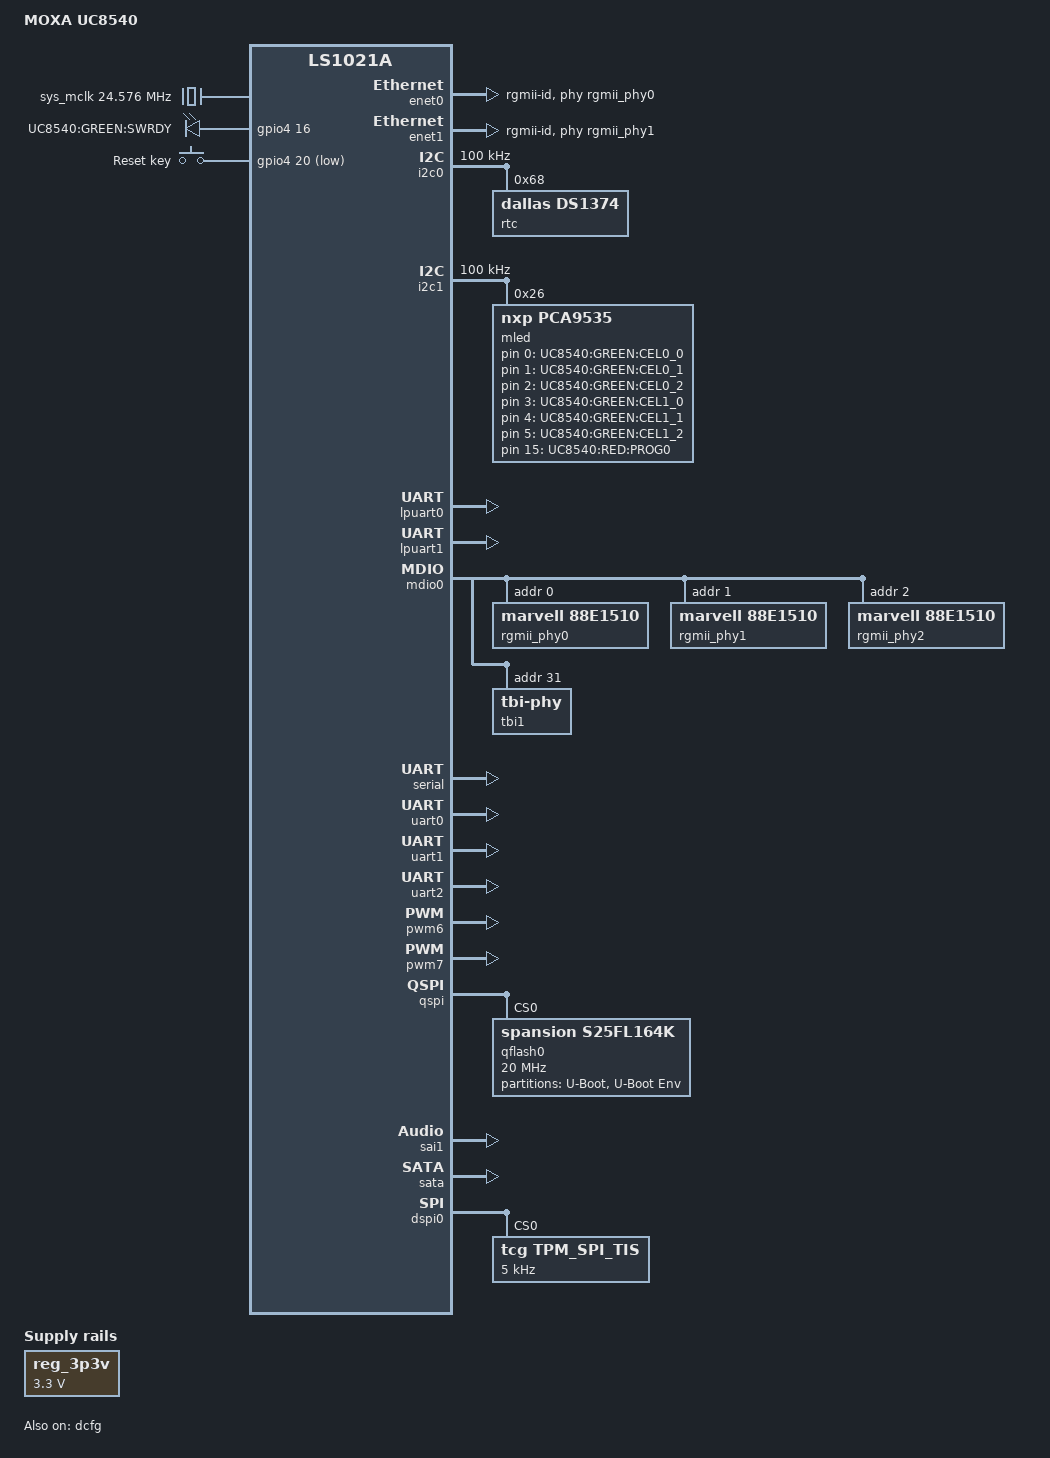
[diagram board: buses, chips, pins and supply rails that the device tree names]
/*
 * Copyright 2013-2014 Freescale Semiconductor, Inc.
 *
 * This file is dual-licensed: you can use it either under the terms
 * of the GPL or the X11 license, at your option. Note that this dual
 * licensing only applies to this file, and not this project as a
 * whole.
 *
 *  a) This file is free software; you can redistribute it and/or
 *     modify it under the terms of the GNU General Public License as
 *     published by the Free Software Foundation; either version 2 of
 *     the License, or (at your option) any later version.
 *
 *     This file is distributed in the hope that it will be useful,
 *     but WITHOUT ANY WARRANTY; without even the implied warranty of
 *     MERCHANTABILITY or FITNESS FOR A PARTICULAR PURPOSE.  See the
 *     GNU General Public License for more details.
 *
 *     You should have received a copy of the GNU General Public
 *     License along with this file; if not, write to the Free
 *     Software Foundation, Inc., 51 Franklin St, Fifth Floor, Boston,
 *     MA 02110-1301 USA
 *
 * Or, alternatively,
 *
 *  b) Permission is hereby granted, free of charge, to any person
 *     obtaining a copy of this software and associated documentation
 *     files (the "Software"), to deal in the Software without
 *     restriction, including without limitation the rights to use,
 *     copy, modify, merge, publish, distribute, sublicense, and/or
 *     sell copies of the Software, and to permit persons to whom the
 *     Software is furnished to do so, subject to the following
 *     conditions:
 *
 *     The above copyright notice and this permission notice shall be
 *     included in all copies or substantial portions of the Software.
 *
 *     THE SOFTWARE IS PROVIDED "AS IS", WITHOUT WARRANTY OF ANY KIND,
 *     EXPRESS OR IMPLIED, INCLUDING BUT NOT LIMITED TO THE WARRANTIES
 *     OF MERCHANTABILITY, FITNESS FOR A PARTICULAR PURPOSE AND
 *     NONINFRINGEMENT. IN NO EVENT SHALL THE AUTHORS OR COPYRIGHT
 *     HOLDERS BE LIABLE FOR ANY CLAIM, DAMAGES OR OTHER LIABILITY,
 *     WHETHER IN AN ACTION OF CONTRACT, TORT OR OTHERWISE, ARISING
 *     FROM, OUT OF OR IN CONNECTION WITH THE SOFTWARE OR THE USE OR
 *     OTHER DEALINGS IN THE SOFTWARE.
 */

/dts-v1/;
#include "ls1021a.dtsi"

/ {
	model = "MOXA UC8540";

	aliases {
		enet0_rgmii_phy = &rgmii_phy0;
		enet1_rgmii_phy = &rgmii_phy1;
		enet2_rgmii_phy = &rgmii_phy2;
	};

	clocks {
		sys_mclk: clock {
			compatible = "fixed-clock";
			#clock-cells = <0>;
			clock-frequency = <24576000>;
		};
	};

	regulators {
		compatible = "simple-bus";
		#address-cells = <1>;
		#size-cells = <0>;

		reg_3p3v: regulator@0 {
			compatible = "regulator-fixed";
			reg = <0>;
			regulator-name = "3P3V";
			regulator-min-microvolt = <3300000>;
			regulator-max-microvolt = <3300000>;
			regulator-always-on;
		};
	};
	
	leds {
		compatible = "gpio-leds";

		signal_led_0_0 {
			label = "UC8540:GREEN:CEL0_0";
			gpios = <&mled 0 0>;
			default-state = "off";
		};

		signal_led_0_1 {
			label = "UC8540:GREEN:CEL0_1";
			gpios = <&mled 1 0>;
			default-state = "off";
		};

		signal_led_0_2 {
			label = "UC8540:GREEN:CEL0_2";
			gpios = <&mled 2 0>;
			default-state = "off";
		};

		signal_led_1_0 {
			label = "UC8540:GREEN:CEL1_0";
			gpios = <&mled 3 0>;
			default-state = "off";
		};

		signal_led_1_1 {
			label = "UC8540:GREEN:CEL1_1";
			gpios = <&mled 4 0>;
			default-state = "off";
		};

		signal_led_1_2 {
			label = "UC8540:GREEN:CEL1_2";
			gpios = <&mled 5 0>;
			default-state = "off";
		};

		prog_led0 {
			label = "UC8540:RED:PROG0";
			gpios = <&mled 15 0>;
			default-state = "off";
		};

		sw_ready {
			label = "UC8540:GREEN:SWRDY";
			gpios = <&gpio4 16 0>;
			default-state = "on";
		};
	};

    gpio-keys {
        compatible = "gpio-keys";
        reset-key {
            label = "Reset key";
            gpios = <&gpio4 20 1>;
            linux,code = <69>;
            default-state = "on";
        };
    };
};

&enet0 {
	phy-handle = <&rgmii_phy0>;
	phy-mode = "rgmii-id";
	status = "okay";
};

&enet1 {
	phy-handle = <&rgmii_phy1>;
	phy-mode = "rgmii-id";
	status = "okay";
};

&enet2 {
	phy-handle = <&rgmii_phy2>;
	phy-mode = "rgmii-id";
	status = "disabled";
};

&i2c0 {
	status = "okay";
	clock-frequency = <100000>;

	rtc@68 {
		compatible = "dallas,ds1374";
		reg = <0x68>;
	};
};

&i2c1 {
	status = "okay";
	clock-frequency = <100000>;

	mled: gpio@26 {
		compatible = "nxp,pca9535";
		reg = <0x26>;
		gpio-controller;
		#gpio-cells = <2>;
		interrupts = <23 IRQ_TYPE_LEVEL_LOW>;
	};
};

&i2c2 {
	status = "disabled";
	monitor: ltc2945@67 {
		reg = <0x67>;
	};
};

&ifc {
	status = "disabled";
	#address-cells = <2>;
	#size-cells = <1>;
	/* NOR Flash on board */
	ranges = <0x0 0x0 0x0 0x60000000 0x08000000>;

	nor@0,0 {
		#address-cells = <1>;
		#size-cells = <1>;
		compatible = "cfi-flash";
		reg = <0x0 0x0 0x8000000>;
		bank-width = <2>;
		device-width = <1>;
	};
};

&lpuart0 {
	status = "okay";
};

&lpuart1 {
	status = "okay";
};

&mdio0 {
	rgmii_phy0: ethernet-phy@0 {
		compatible = "marvell,88e1510";	
		reg = <0x0>;
		marvell,reg-init =
			/* marvell,reg-init = <reg-page reg mask value> */
			<3 0x11 0 0x15>, /* Reg 3,17 */
			<3 0x10 0 0x177>; /* Reg 3,16 */
	};
	rgmii_phy1: ethernet-phy@1 {
		compatible = "marvell,88e1510";
		reg = <0x1>;
		marvell,reg-init =
			/* marvell,reg-init = <reg-page reg mask value> */
			<3 0x11 0 0x15>, /* Reg 3,17 */
			<3 0x10 0 0x177>; /* Reg 3,16 */
	};
	rgmii_phy2: ethernet-phy@2 {
		compatible = "marvell,88e1510";
		reg = <0x2>;
		marvell,reg-init =
			/* marvell,reg-init = <reg-page reg mask value> */
			<3 0x11 0 0x4415>, /* Reg 3,17 */
			<3 0x10 0 0x77>; /* Reg 3,16 / LED[0]:orange LED[1]:green, 4bit per LED */
	};
	tbi1: tbi-phy@1f {
		reg = <0x1f>;
		device_type = "tbi-phy";
	};
};

&uqe {
	tdma: ucc@2000 {
		compatible = "fsl,ucc-tdm";
		rx-clock-name = "clk8";
		tx-clock-name = "clk9";
		fsl,rx-sync-clock = "rsync_pin";
		fsl,tx-sync-clock = "tsync_pin";
		fsl,tx-timeslot = <0xfffffffe>;
		fsl,rx-timeslot = <0xfffffffe>;
		fsl,tdm-framer-type = "e1";
		fsl,tdm-mode = "normal";
		fsl,tdm-id = <0>;
		fsl,siram-entry-id = <0>;
	};

	serial: ucc@2200 {
		device_type = "serial";
		compatible = "ucc_uart";
		port-number = <1>;
		rx-clock-name = "brg2";
		tx-clock-name = "brg2";
	};
};

&uart0 {
	status = "okay";
};

&uart1 {
	status = "okay";
};

&uart2 {
	status = "okay";
};

&pwm6 {
	status = "okay";
};

&pwm7 {
	status = "okay";
};

&dcfg {
	status = "okay";
};

&qspi {
	status = "okay";
	bus-num = <0>;
	fsl,spi-num-chipselects = <2>;
	fsl,spi-flash-chipselects = <0>;
	fsl,qspi-has-second-chip;

	qflash0: qspi_flash@0 {
		compatible = "spansion,s25fl164k", "spansion,s25fl064l", "mx25l6405d","jedec,spi-nor";
		spi-max-frequency = <20000000>;
		reg = <0>;

		partitions { /*according to kernel Document, must be "partitions", note the 's'*/
			compatible = "fixed-partitions";
			#address-cells = <1>;
			#size-cells = <1>;

			U-Boot@0 {
				label = "U-Boot";
				reg = <0x0 0x180000>;
			};
			U-Boot_Env@180000 {
				label = "U-Boot Env";
				reg = <0x180000 0x40000>;
			};
		};
	};
};

&uart1 {
	status = "okay";
};

&sai1 {
	status = "okay";
};

&sata {
	status = "okay";
};

&dspi0 {
	compatible = "fsl,vf610-dspi";
	status = "okay";
	bus-num = <0>;

	tpm_spi_tis@0 {
		compatible = "tcg,tpm_spi_tis";
		spi-max-frequency = <0x1388>;
		reg = <0x0>;
	};
};
